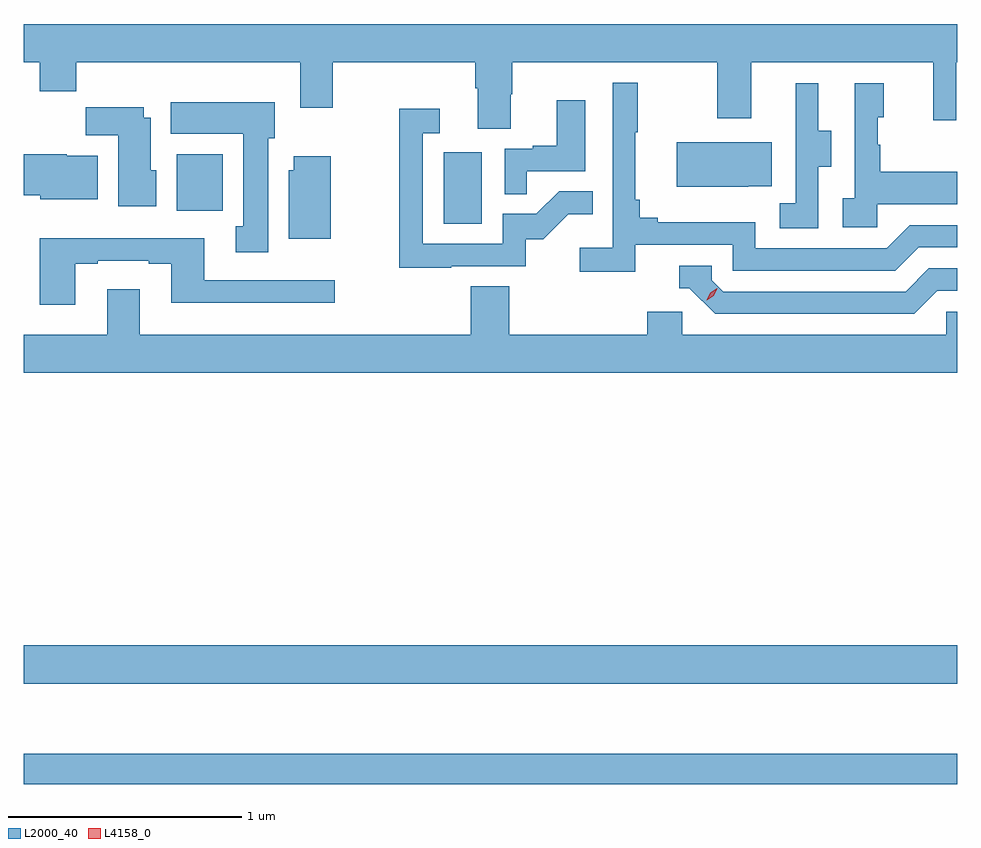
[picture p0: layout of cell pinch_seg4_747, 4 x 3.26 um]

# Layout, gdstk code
import gdstk
lib = gdstk.Library(unit=1e-6, precision=1e-09)
def R(c, l, rs):  # rectangles x0, y0, x1, y1
    for r in rs: c.add(gdstk.rectangle(r[:2], r[2:], *l))
def P(c, l, *ps):  # polygons
    for p in ps: c.add(gdstk.Polygon(p, *l))
L2000_40 = (2000, 40)
L4158_0 = (4158, 0)

pinch_seg4_747 = lib.new_cell('pinch_seg4_747')
R(pinch_seg4_747, L2000_40, [(864.375,813.706,868.375,813.835), (864.375,814.136,868.375,814.3), (866.174,816.108,866.338,816.415), (865.031,816.164,865.228,816.406)])
P(pinch_seg4_747, L2000_40, [(866.461,816.663),(866.469,816.663),(866.469,816.8),(867.346,816.8),(867.346,816.561),(867.493,816.561),(867.493,816.8),(868.274,816.8),(868.274,816.552),(868.371,816.552),(868.371,816.8),(868.375,816.8),(868.375,816.964),(864.375,816.964),(864.375,816.8),(864.443,816.8),(864.443,816.676),(864.599,816.676),(864.599,816.8),(865.559,816.8),(865.559,816.606),(865.699,816.606),(865.699,816.8),(866.309,816.8),(866.309,816.688),(866.321,816.688),(866.321,816.514),(866.461,816.514)],
  [(866.996,816.018),(867.414,816.018),(867.414,815.907),(868.111,815.907),(868.21,816.006),(868.375,816.006),(868.375,816.102),(868.173,816.102),(868.074,816.003),(867.51,816.003),(867.51,816.115),(867.091,816.115),(867.091,816.134),(867.014,816.134),(867.014,816.211),(866.995,816.211),(866.995,816.499),(867.007,816.499),(867.007,816.712),(866.898,816.712),(866.898,816.004),(866.757,816.004),(866.757,815.902),(866.996,815.902)],
  [(867.78,816.352),(867.835,816.352),(867.835,816.507),(867.781,816.507),(867.781,816.709),(867.683,816.709),(867.683,816.495),(867.684,816.495),(867.684,816.195),(867.615,816.195),(867.615,816.088),(867.78,816.088)],
  [(868.032,816.191),(868.375,816.191),(868.375,816.331),(868.045,816.331),(868.045,816.446),(868.035,816.446),(868.035,816.564),(868.06,816.564),(868.06,816.709),(867.936,816.709),(867.936,816.218),(867.885,816.218),(867.885,816.093),(868.032,816.093)],
  [(866.531,816.333),(866.782,816.333),(866.782,816.637),(866.66,816.637),(866.66,816.442),(866.557,816.442),(866.557,816.429),(866.436,816.429),(866.436,816.235),(866.531,816.235)],
  [(865.423,816.474),(865.45,816.474),(865.45,816.628),(865.004,816.628),(865.004,816.494),(865.316,816.494),(865.316,816.098),(865.283,816.098),(865.283,815.985),(865.423,815.985)],
  [(864.943,816.336),(864.919,816.336),(864.919,816.562),(864.889,816.562),(864.889,816.607),(864.64,816.607),(864.64,816.488),(864.779,816.488),(864.779,816.182),(864.943,816.182)],
  [(866.207,815.925),(866.526,815.925),(866.526,816.042),(866.602,816.042),(866.709,816.149),(866.813,816.149),(866.813,816.248),(866.67,816.248),(866.572,816.15),(866.427,816.15),(866.427,816.021),(866.085,816.021),(866.085,816.495),(866.158,816.495),(866.158,816.601),(865.984,816.601),(865.984,815.92),(866.207,815.92)],
  [(867.479,816.269),(867.581,816.269),(867.581,816.457),(867.173,816.457),(867.173,816.266),(867.479,816.266)],
  [(864.691,816.4),(864.558,816.4),(864.558,816.406),(864.375,816.406),(864.375,816.23),(864.444,816.23),(864.444,816.212),(864.691,816.212)],
  [(865.69,816.397),(865.532,816.397),(865.532,816.336),(865.511,816.336),(865.511,816.044),(865.69,816.044)],
  [(864.595,815.937),(864.691,815.937),(864.691,815.949),(864.911,815.949),(864.911,815.937),(865.007,815.937),(865.007,815.768),(865.708,815.768),(865.708,815.865),(865.147,815.865),(865.147,816.046),(864.443,816.046),(864.443,815.76),(864.595,815.76)],
  [(868.291,815.82),(868.375,815.82),(868.375,815.916),(868.254,815.916),(868.155,815.817),(867.372,815.817),(867.324,815.865),(867.324,815.928),(867.185,815.928),(867.185,815.832),(867.228,815.832),(867.339,815.721),(868.192,815.721)],
  [(868.375,815.73),(868.329,815.73),(868.329,815.632),(867.198,815.632),(867.198,815.73),(867.047,815.73),(867.047,815.632),(866.456,815.632),(866.456,815.84),(866.291,815.84),(866.291,815.632),(864.871,815.632),(864.871,815.827),(864.731,815.827),(864.731,815.632),(864.375,815.632),(864.375,815.468),(868.375,815.468)])
P(pinch_seg4_747, L4158_0, [(867.301,815.779),(867.301,815.779),(867.317,815.812),(867.348,815.831),(867.348,815.831),(867.348,815.83),(867.332,815.798),(867.301,815.779)])

lib.write_gds('pinch_seg4_747.gds')
